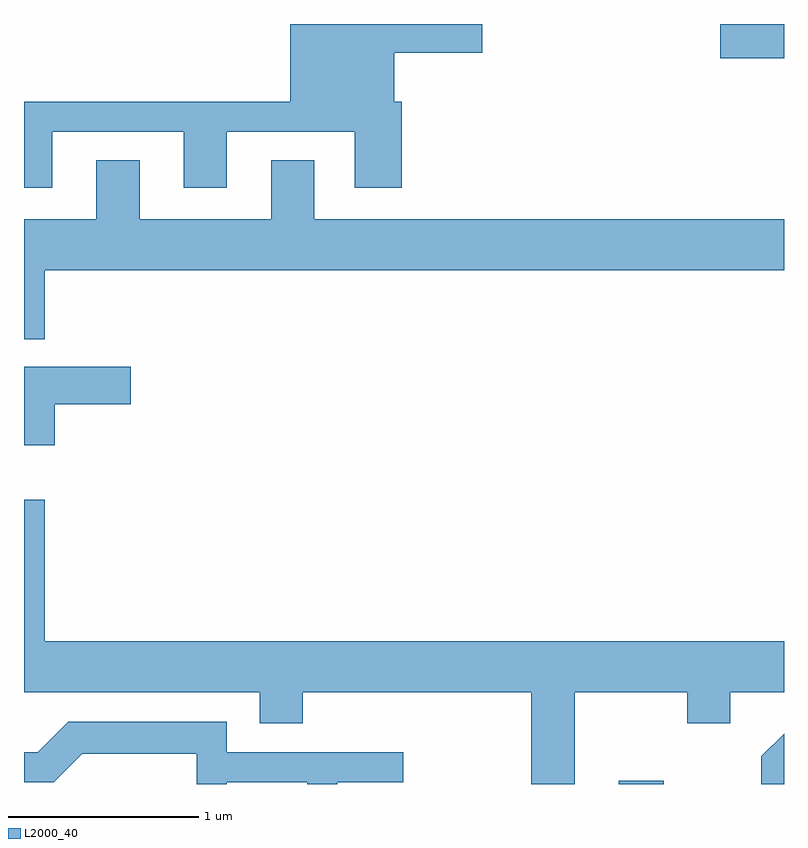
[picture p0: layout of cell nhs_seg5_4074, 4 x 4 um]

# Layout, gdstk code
import gdstk
lib = gdstk.Library(unit=1e-6, precision=1e-09)
def R(c, l, rs):  # rectangles x0, y0, x1, y1
    for r in rs: c.add(gdstk.rectangle(r[:2], r[2:], *l))
def P(c, l, *ps):  # polygons
    for p in ps: c.add(gdstk.Polygon(p, *l))
L2000_40 = (2000, 40)

nhs_seg5_4074 = lib.new_cell('nhs_seg5_4074')
R(nhs_seg5_4074, L2000_40, [(308.741,1474.072,308.978,1474.089), (309.276,1477.891,309.611,1478.072)])
P(nhs_seg5_4074, L2000_40, [(305.759,1477.506),(306.451,1477.506),(306.451,1477.211),(306.679,1477.211),(306.679,1477.506),(307.351,1477.506),(307.351,1477.211),(307.599,1477.211),(307.599,1477.664),(307.559,1477.664),(307.559,1477.921),(308.024,1477.921),(308.024,1478.072),(307.011,1478.072),(307.011,1477.664),(305.611,1477.664),(305.611,1477.211),(305.759,1477.211)],
  [(305.719,1476.776),(309.611,1476.776),(309.611,1477.044),(307.139,1477.044),(307.139,1477.354),(306.911,1477.354),(306.911,1477.044),(306.219,1477.044),(306.219,1477.354),(305.991,1477.354),(305.991,1477.044),(305.611,1477.044),(305.611,1476.413),(305.719,1476.413)],
  [(305.774,1476.071),(306.174,1476.071),(306.174,1476.269),(305.611,1476.269),(305.611,1475.856),(305.774,1475.856)],
  [(308.509,1474.556),(309.101,1474.556),(309.101,1474.391),(309.329,1474.391),(309.329,1474.556),(309.611,1474.556),(309.611,1474.824),(305.719,1474.824),(305.719,1475.568),(305.611,1475.568),(305.611,1474.556),(306.851,1474.556),(306.851,1474.391),(307.079,1474.391),(307.079,1474.556),(308.281,1474.556),(308.281,1474.072),(308.509,1474.072)],
  [(306.679,1474.081),(307.101,1474.081),(307.101,1474.072),(307.259,1474.072),(307.259,1474.081),(307.608,1474.081),(307.608,1474.239),(306.679,1474.239),(306.679,1474.399),(305.844,1474.399),(305.684,1474.239),(305.611,1474.239),(305.611,1474.081),(305.767,1474.081),(305.917,1474.231),(306.521,1474.231),(306.521,1474.072),(306.679,1474.072)],
  [(309.611,1474.336),(309.491,1474.217),(309.491,1474.072),(309.611,1474.072)])

lib.write_gds('nhs_seg5_4074.gds')
